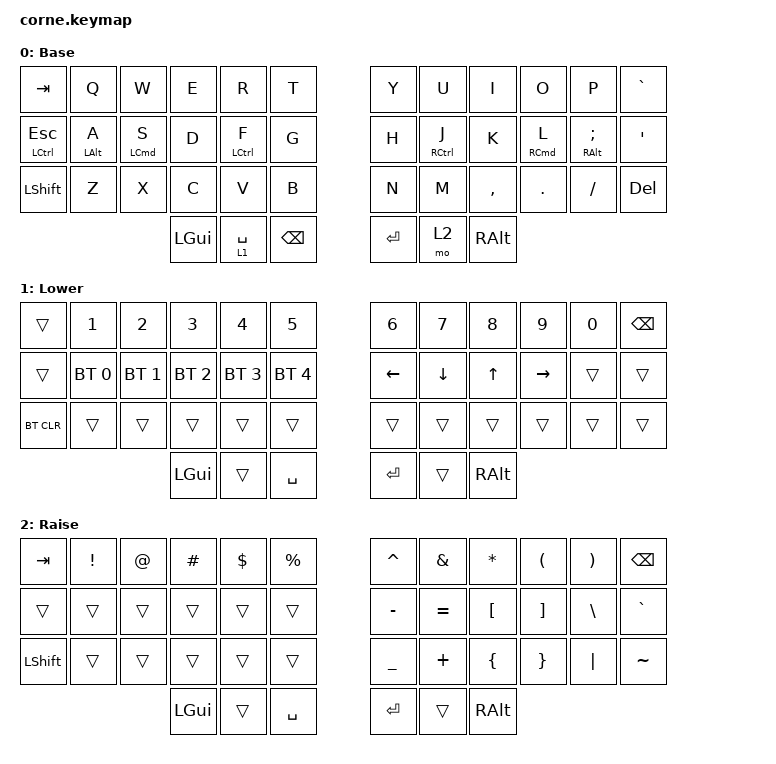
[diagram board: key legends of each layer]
/*
 * Copyright (c) 2020 The ZMK Contributors
 *
 * SPDX-License-Identifier: MIT
 */

#include <behaviors.dtsi>
#include <dt-bindings/zmk/bt.h>
#include <dt-bindings/zmk/keys.h>

&mt {
    flavor = "balanced";
    tapping-term-ms = <200>;
};

/ {
    keymap {
        compatible = "zmk,keymap";

        default_layer {
            // -----------------------------------------------------------------------------------------
            // |  TAB |  Q  |  W  |  E  |  R  |  T  |   |  Y  |  U   |  I  |  O  |  P  | BKSP |
            // | CTRL |  A  |  S  |  D  |  F  |  G  |   |  H  |  J   |  K  |  L  |  ;  |  '   |
            // | SHFT |  Z  |  X  |  C  |  V  |  B  |   |  N  |  M   |  ,  |  .  |  /  | ESC  |
            //                    | GUI | LWR | SPC |   | ENT | RSE  | ALT |

            label = "Base";
            bindings = <
&kp TAB           &kp Q           &kp W               &kp E     &kp R        &kp T            &kp Y    &kp U        &kp I      &kp O                &kp P                    &kp GRAVE
&mt LCTRL ESCAPE  &mt LEFT_ALT A  &mt LEFT_COMMAND S  &kp D     &mt LCTRL F  &kp G            &kp H    &mt RCTRL J  &kp K      &mt RIGHT_COMMAND L  &mt RIGHT_ALT SEMICOLON  &kp SQT
&kp LSHFT         &kp Z           &kp X               &kp C     &kp V        &kp B            &kp N    &kp M        &kp COMMA  &kp DOT              &kp FSLH                 &kp DEL
                                                      &kp LGUI  &lt 1 SPACE  &kp BACKSPACE    &kp RET  &mo 2        &kp RALT
            >;
        };

        lower_layer {
            // -----------------------------------------------------------------------------------------
            // |  TAB |  1  |  2  |  3  |  4  |  5  |   |  6  |  7  |  8  |  9  |  0  | BKSP |
            // | BTCLR| BT1 | BT2 | BT3 | BT4 | BT5 |   | LFT | DWN |  UP | RGT |     |      |
            // | SHFT |     |     |     |     |     |   |     |     |     |     |     |      |
            //                    | GUI |     | SPC |   | ENT |     | ALT |

            label = "Lower";
            bindings = <
&trans      &kp N1        &kp N2        &kp N3        &kp N4        &kp N5          &kp N6    &kp N7    &kp N8    &kp N9     &kp N0  &kp BSPC
&trans      &bt BT_SEL 0  &bt BT_SEL 1  &bt BT_SEL 2  &bt BT_SEL 3  &bt BT_SEL 4    &kp LEFT  &kp DOWN  &kp UP    &kp RIGHT  &trans  &trans
&bt BT_CLR  &trans        &trans        &trans        &trans        &trans          &trans    &trans    &trans    &trans     &trans  &trans
                                        &kp LGUI      &trans        &kp SPACE       &kp RET   &trans    &kp RALT
            >;
        };

        raise_layer {
            // -----------------------------------------------------------------------------------------
            // |  TAB |  !  |  @  |  #  |  $  |  %  |   |  ^  |  &  |  *  |  (  |  )  | BKSP |
            // | CTRL |     |     |     |     |     |   |  -  |  =  |  [  |  ]  |  \  |  `   |
            // | SHFT |     |     |     |     |     |   |  _  |  +  |  {  |  }  | "|" |  ~   |
            //                    | GUI |     | SPC |   | ENT |     | ALT |

            label = "Raise";
            bindings = <
&kp TAB    &kp EXCL  &kp AT  &kp HASH  &kp DLLR  &kp PRCNT    &kp CARET  &kp AMPS   &kp ASTERISK  &kp LPAR  &kp RPAR  &kp BSPC
&trans     &trans    &trans  &trans    &trans    &trans       &kp MINUS  &kp EQUAL  &kp LBKT      &kp RBKT  &kp BSLH  &kp GRAVE
&kp LSHFT  &trans    &trans  &trans    &trans    &trans       &kp UNDER  &kp PLUS   &kp LBRC      &kp RBRC  &kp PIPE  &kp TILDE
                             &kp LGUI  &trans    &kp SPACE    &kp RET    &trans     &kp RALT
            >;
        };
    };
};
